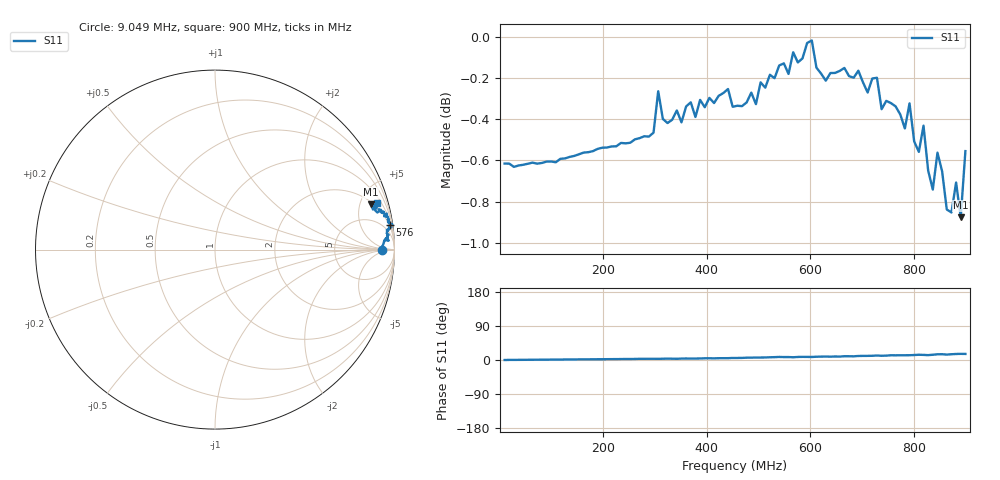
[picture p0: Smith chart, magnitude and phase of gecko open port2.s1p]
! File created by NanoVNA (https://gen111.taobao.com/)
! Start 50000Hz  Stop 899999800Hz  Points 101
# HZ S MA R 50
!S - Parameter data, F S11
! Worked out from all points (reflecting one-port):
!   100 points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, 9.049 MHz to 900 MHz, reference 50 ohm
!   lowest |S11| = -0.9 dB at 891 MHz (marker M1), VSWR 19.83, Z = 113 + j311 ohm
!   phase of S11 starts at -0 deg and turns +16 deg over the sweep
!   S11 on the Smith chart (normalised r, x): 9.049 MHz: 28, -0; 576 MHz: 1, +14; 900 MHz: 1.57, +6.76
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9049400  0.9316 -0.0
1.260429e8  0.9343 1.3
2.340369e8  0.9424 2.5
2.970334e8  0.9479 3.2
3.060329e8  0.9701 3.0
3.150324e8  0.9551 3.3
3.510304e8  0.9533 3.7
4.590243e8  0.9622 5.4
5.400198e8  0.9842 8.1
5.670183e8  0.9915 7.2
5.760178e8  0.9858 8.0
6.030163e8  0.998 8.0
6.300148e8  0.9758 9.1
6.840118e8  0.9774 9.7
7.290093e8  0.9774 11.9
7.380088e8  0.9604 11.2
7.560078e8  0.9636 12.5
7.830063e8  0.9501 12.5
7.920058e8  0.9635 12.6
8.100048e8  0.9377 13.9
8.190043e8  0.9516 13.4
8.280038e8  0.9279 12.9
8.370033e8  0.9181 13.8
8.460028e8  0.9373 15.1
8.640018e8  0.9079 14.2
8.820008e8  0.9218 15.9
8.910003e8  0.904 16.2
8.999998e8  0.9381 16.0
